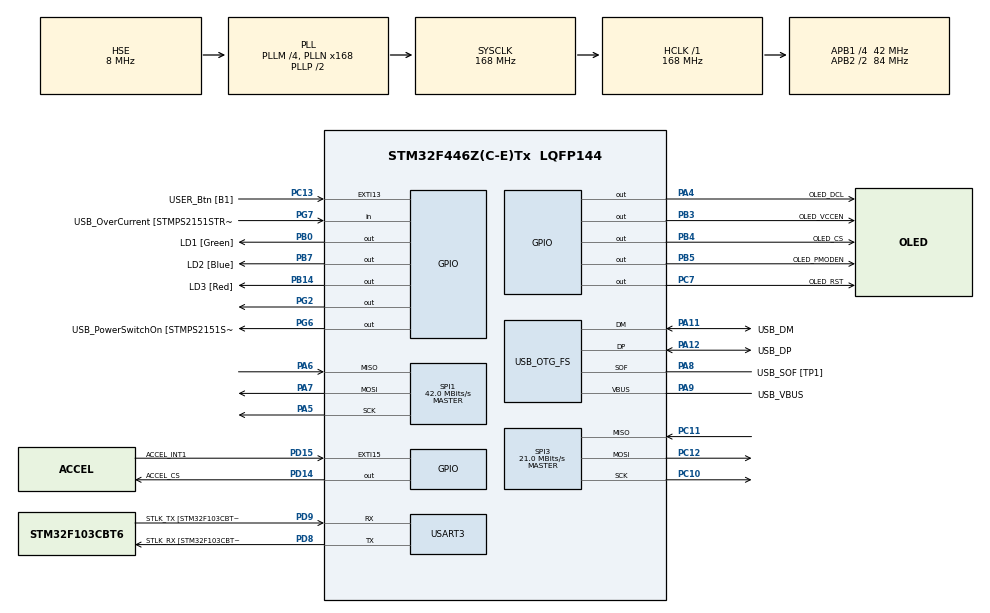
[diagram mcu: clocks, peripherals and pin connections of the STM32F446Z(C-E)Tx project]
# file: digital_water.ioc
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Dma.Request0=USART3_TX
Dma.Request1=SPI1_TX
Dma.Request2=SPI3_TX
Dma.SPI1_TX.1.Direction=DMA_MEMORY_TO_PERIPH
Dma.SPI1_TX.1.FIFOMode=DMA_FIFOMODE_ENABLE
Dma.SPI1_TX.1.FIFOThreshold=DMA_FIFO_THRESHOLD_FULL
Dma.SPI1_TX.1.Instance=DMA2_Stream3
Dma.SPI1_TX.1.MemBurst=DMA_MBURST_SINGLE
Dma.SPI1_TX.1.MemDataAlignment=DMA_MDATAALIGN_BYTE
Dma.SPI1_TX.1.MemInc=DMA_MINC_ENABLE
Dma.SPI1_TX.1.Mode=DMA_NORMAL
Dma.SPI1_TX.1.PeriphBurst=DMA_PBURST_SINGLE
Dma.SPI1_TX.1.PeriphDataAlignment=DMA_PDATAALIGN_BYTE
Dma.SPI1_TX.1.PeriphInc=DMA_PINC_DISABLE
Dma.SPI1_TX.1.Priority=DMA_PRIORITY_LOW
Dma.SPI3_TX.2.Direction=DMA_MEMORY_TO_PERIPH
Dma.SPI3_TX.2.FIFOMode=DMA_FIFOMODE_DISABLE
Dma.SPI3_TX.2.Instance=DMA1_Stream5
Dma.SPI3_TX.2.MemDataAlignment=DMA_MDATAALIGN_BYTE
Dma.SPI3_TX.2.MemInc=DMA_MINC_ENABLE
Dma.SPI3_TX.2.Mode=DMA_NORMAL
Dma.SPI3_TX.2.PeriphDataAlignment=DMA_PDATAALIGN_BYTE
Dma.SPI3_TX.2.PeriphInc=DMA_PINC_DISABLE
Dma.SPI3_TX.2.Priority=DMA_PRIORITY_LOW
Dma.USART3_TX.0.Direction=DMA_MEMORY_TO_PERIPH
Dma.USART3_TX.0.FIFOMode=DMA_FIFOMODE_ENABLE
Dma.USART3_TX.0.FIFOThreshold=DMA_FIFO_THRESHOLD_FULL
Dma.USART3_TX.0.Instance=DMA1_Stream3
Dma.USART3_TX.0.MemBurst=DMA_MBURST_SINGLE
Dma.USART3_TX.0.MemDataAlignment=DMA_MDATAALIGN_BYTE
Dma.USART3_TX.0.MemInc=DMA_MINC_ENABLE
Dma.USART3_TX.0.Mode=DMA_NORMAL
Dma.USART3_TX.0.PeriphBurst=DMA_PBURST_SINGLE
Dma.USART3_TX.0.PeriphDataAlignment=DMA_PDATAALIGN_BYTE
Dma.USART3_TX.0.PeriphInc=DMA_PINC_DISABLE
Dma.USART3_TX.0.Priority=DMA_PRIORITY_LOW
Mcu.Family=STM32F4
Mcu.Name=STM32F446Z(C-E)Tx
Mcu.Package=LQFP144
NVIC.DMA1_Stream3_IRQn=true\:0\:0\:false\:false\:true\:false\:true\:true
NVIC.DMA1_Stream5_IRQn=true\:0\:0\:false\:false\:true\:false\:true\:true
NVIC.DMA2_Stream3_IRQn=true\:0\:0\:false\:false\:true\:false\:true\:true
NVIC.EXTI15_10_IRQn=true\:0\:0\:false\:false\:true\:true\:true\:true
NVIC.PriorityGroup=NVIC_PRIORITYGROUP_4
NVIC.TIM6_DAC_IRQn=true\:0\:0\:false\:false\:true\:true\:true\:true
NVIC.USART3_IRQn=true\:0\:0\:false\:false\:true\:true\:true\:true
PA10.GPIO_Label=USB_ID
PA10.Signal=USB_OTG_FS_ID
PA11.GPIO_Label=USB_DM
PA11.Mode=Device_Only
PA11.Signal=USB_OTG_FS_DM
PA12.GPIO_Label=USB_DP
PA12.Mode=Device_Only
PA12.Signal=USB_OTG_FS_DP
PA13.GPIO_Label=TMS
PA13.Mode=Serial_Wire
PA13.Signal=SYS_JTMS-SWDIO
PA14.GPIO_Label=TCK
PA14.Mode=Serial_Wire
PA14.Signal=SYS_JTCK-SWCLK
PA4.GPIO_Label=OLED_DCL
PA4.GPIO_PuPd=GPIO_PULLDOWN
PA4.GPIO_Speed=GPIO_SPEED_FREQ_VERY_HIGH
PA4.Signal=GPIO_Output
PA5.Mode=Full_Duplex_Master
PA5.Signal=SPI1_SCK
PA6.Mode=Full_Duplex_Master
PA6.Signal=SPI1_MISO
PA7.Mode=Full_Duplex_Master
PA7.Signal=SPI1_MOSI
PA8.GPIO_Label=USB_SOF [TP1]
PA8.Mode=Activate_SOF_FS
PA8.Signal=USB_OTG_FS_SOF
PA9.GPIO_Label=USB_VBUS
PA9.Mode=Activate_VBUS
PA9.Signal=USB_OTG_FS_VBUS
PB0.GPIO_Label=LD1 [Green]
PB0.Signal=GPIO_Output
PB14.GPIO_Label=LD3 [Red]
PB14.Signal=GPIO_Output
PB3.GPIO_Label=OLED_VCCEN
PB3.GPIO_PuPd=GPIO_PULLDOWN
PB3.GPIO_Speed=GPIO_SPEED_FREQ_VERY_HIGH
PB3.Signal=GPIO_Output
PB4.GPIO_Label=OLED_CS
PB4.GPIO_PuPd=GPIO_PULLUP
PB4.GPIO_Speed=GPIO_SPEED_FREQ_VERY_HIGH
PB4.Signal=GPIO_Output
PB5.GPIO_Label=OLED_PMODEN
PB5.GPIO_PuPd=GPIO_PULLDOWN
PB5.GPIO_Speed=GPIO_SPEED_FREQ_MEDIUM
PB5.Signal=GPIO_Output
PB7.GPIO_Label=LD2 [Blue]
PB7.Signal=GPIO_Output
PC10.Mode=Full_Duplex_Master
PC10.Signal=SPI3_SCK
PC11.Mode=Full_Duplex_Master
PC11.Signal=SPI3_MISO
PC12.Mode=Full_Duplex_Master
PC12.Signal=SPI3_MOSI
PC13.GPIO_Label=USER_Btn [B1]
PC13.Signal=GPXTI13
PC14-OSC32_IN.Mode=LSE-External-Oscillator
PC14-OSC32_IN.Signal=RCC_OSC32_IN
PC15-OSC32_OUT.Mode=LSE-External-Oscillator
PC15-OSC32_OUT.Signal=RCC_OSC32_OUT
PC7.GPIO_Label=OLED_RST
PC7.GPIO_PuPd=GPIO_PULLDOWN
PC7.GPIO_Speed=GPIO_SPEED_FREQ_MEDIUM
PC7.PinState=GPIO_PIN_SET
PC7.Signal=GPIO_Output
PD14.GPIO_Label=ACCEL_CS
PD14.GPIO_PuPd=GPIO_PULLUP
PD14.GPIO_Speed=GPIO_SPEED_FREQ_VERY_HIGH
PD14.Signal=GPIO_Output
PD15.GPIO_Label=ACCEL_INT1
PD15.GPIO_PuPd=GPIO_PULLDOWN
PD15.Signal=GPXTI15
PD8.GPIO_Label=STLK_RX [STM32F103CBT6_PA3]
PD8.Mode=Asynchronous
PD8.Signal=USART3_TX
PD9.GPIO_Label=STLK_TX [STM32F103CBT6_PA2]
PD9.Mode=Asynchronous
PD9.Signal=USART3_RX
PG2.Signal=GPIO_Output
PG6.GPIO_Label=USB_PowerSwitchOn [STMPS2151STR_EN]
PG6.Signal=GPIO_Output
PG7.GPIO_Label=USB_OverCurrent [STMPS2151STR_FAULT]
PG7.Signal=GPIO_Input
PH0-OSC_IN.GPIO_Label=MCO [STM32F103CBT6_PA8]
PH0-OSC_IN.Mode=HSE-External-Clock-Source
PH0-OSC_IN.Signal=RCC_OSC_IN
PH1-OSC_OUT.Mode=HSE-External-Clock-Source
PH1-OSC_OUT.Signal=RCC_OSC_OUT
ProjectManager.HeapSize=0x200
ProjectManager.StackSize=0x400
ProjectManager.TargetToolchain=MDK-ARM V5.32
RCC.48MHZClocksFreq_Value=24000000
RCC.AHBFreq_Value=168000000
RCC.APB1CLKDivider=RCC_HCLK_DIV4
RCC.APB1Freq_Value=42000000
RCC.APB1TimFreq_Value=84000000
RCC.APB2CLKDivider=RCC_HCLK_DIV2
RCC.APB2Freq_Value=84000000
RCC.APB2TimFreq_Value=168000000
RCC.CortexFreq_Value=168000000
RCC.HCLKFreq_Value=168000000
RCC.HSE_VALUE=8000000
RCC.HSI_VALUE=16000000
RCC.PLLM=4
RCC.PLLMUL=RCC_PLL_MUL9
RCC.PLLN=168
RCC.PLLQ=7
RCC.PRESCALERUSB=RCC_USBCLKSOURCE_PLL_DIV1_5
RCC.SYSCLKFreq_VALUE=168000000
RCC.SYSCLKSource=RCC_SYSCLKSOURCE_PLLCLK
RCC.SYSCLKSourceVirtual=RCC_SYSCLKSOURCE_PLLCLK
RCC.USBFreq_Value=48000000
RCC.VCOOutputFreq_Value=336000000
SPI1.CalculateBaudRate=42.0 MBits/s
SPI1.Direction=SPI_DIRECTION_2LINES
SPI1.Mode=SPI_MODE_MASTER
SPI1.VirtualType=VM_MASTER
SPI3.CalculateBaudRate=21.0 MBits/s
SPI3.Direction=SPI_DIRECTION_2LINES
SPI3.Mode=SPI_MODE_MASTER
SPI3.VirtualType=VM_MASTER
USART3.VirtualMode=VM_ASYNC
USB_OTG_FS.VirtualMode=Device_Only
VP_TIM6_VS_ClockSourceINT.Mode=Enable_Timer
board=NUCLEO-F446ZE

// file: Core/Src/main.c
/* USER CODE BEGIN Header */
/**
 ******************************************************************************
 * @file           : main.c
 * @brief          : Main program body
 ******************************************************************************
 * @attention
 *
 * Copyright (c) 2025 STMicroelectronics.
 * All rights reserved.
 *
 * This software is licensed under terms that can be found in the LICENSE file
 * in the root directory of this software component.
 * If no LICENSE file comes with this software, it is provided AS-IS.
 *
 ******************************************************************************
 */
/* USER CODE END Header */
#include "main.h"

/* USER CODE BEGIN Includes */
#include "oled.h"
#include "accelerometer.h"
#include "fluid_sim.h"
#include "physics.h"
/* USER CODE END Includes */

SPI_HandleTypeDef hspi1;
SPI_HandleTypeDef hspi3;
DMA_HandleTypeDef hdma_spi1_tx;
DMA_HandleTypeDef hdma_spi3_tx;

TIM_HandleTypeDef htim6;

UART_HandleTypeDef huart3;
DMA_HandleTypeDef hdma_usart3_tx;

PCD_HandleTypeDef hpcd_USB_OTG_FS;

void SystemClock_Config(void);
static void MX_GPIO_Init(void);
static void MX_DMA_Init(void);
static void MX_SPI1_Init(void);
static void MX_TIM6_Init(void);
static void MX_USART3_UART_Init(void);
static void MX_USB_OTG_FS_PCD_Init(void);
static void MX_SPI3_Init(void);

/* USER CODE BEGIN 0 */
int16_t accel_data[3];
// 0 --> XDATA
// 1 --> YDATA
// 2 --> ZDATA
double roll = 0.00, pitch = 0.00;
int16_t x = 0, y = 0, z = 0;
float x_g = 0.0, y_g = 0.0, z_g = 0.0;

uint8_t btn_press = 0;
uint16_t colors[3] = {RED, GREEN, BLUE};

Sim_Cell_t grid_array[SIM_PHYS_X_SIZE][SIM_PHYS_Y_SIZE];
Sim_Particle_t particle_array[SIM_PARTICLE_COUNT];
uint16_t image_buff[SIM_RENDER_X_SIZE * SIM_RENDER_Y_SIZE];
Sim_Particle_t obstacle_array[SIM_OBSTACLE_COUNT];
Vec2_t GravityVector;

uint8_t tx_buff[sizeof(PREAMBLE) + SIM_RENDER_X_SIZE * SIM_RENDER_Y_SIZE +
									sizeof(SUFFIX)];
size_t tx_buff_len;

int sim_time = 0;
char main_msg[140];
/* USER CODE END 0 */

int overflow = 0;
int main(void)
{

  /* MCU Configuration--------------------------------------------------------*/

  /* Reset of all peripherals, Initializes the Flash interface and the Systick. */
  HAL_Init();

  /* Configure the system clock */
  SystemClock_Config();

  /* Initialize all configured peripherals */
  MX_GPIO_Init();
  MX_DMA_Init();
  MX_SPI1_Init();
  MX_TIM6_Init();
  MX_USART3_UART_Init();
  MX_USB_OTG_FS_PCD_Init();
  MX_SPI3_Init();
  /* USER CODE BEGIN 2 */
  print_msg("finished MX Inits\n");
  Sim_Physics_Init();

  // Write CS pins high by default
  // These pins are configured as pullup, but doing this just in case
  HAL_GPIO_WritePin(ACCEL_CS_GPIO_Port, ACCEL_CS_Pin, GPIO_PIN_SET);
  HAL_GPIO_WritePin(OLED_CS_GPIO_Port, OLED_CS_Pin, GPIO_PIN_SET);
  HAL_Delay(10);

  accel_init();
  HAL_Delay(10);
  oled_init();
  HAL_Delay(10);
  oled_eraseRect(0, 0, RGB_OLED_WIDTH - 1, RGB_OLED_HEIGHT - 1); // Clearing screen
  Sim_Physics_Init();
  const int delayTime = (40 * SIM_PHYSICS_FPS) / 2;
	GravityVector = (Vec2_t){.x = 0, .y = SIM_GRAV};

  print_msg("starting while loop\n");

	// FPS calculation
	HAL_TIM_Base_MspInit(&htim6);

  /* USER CODE END 2 */

  /* Infinite loop */
  while (1)
  {

    /* USER CODE BEGIN 3 */
		if(overflow > 0){
			print_msg("DAB");
		}
		accel_poll(accel_data);

		x = (int16_t)accel_data[0], y = (int16_t)accel_data[1], z = (int16_t)accel_data[2];

		// Convert into g's

		x_g = (float)x*(float)1.0/1024.0;
		y_g = (float)y*(float)1.0/1024.0;
		z_g = (float)z*(float)1.0/1024.0;
		// Compute pitch & roll.
		roll = atan(y_g / sqrt(pow(x_g, 2) + pow(z_g, 2)));
		pitch = atan(x_g / sqrt(pow(y_g, 2) + pow(z_g, 2)));
		// Compute gravity vector.
		GravityVector.x = (-1.0)*sin(roll);
		GravityVector.y = sin(pitch);

		GravityVector = Normalize_V2(GravityVector);
		GravityVector.x *= SIM_GRAV;
		GravityVector.y *= SIM_GRAV;

		//HAL_TIM_Base_Start_IT(&htim6);

		Sim_Physics_Step();
		renderImage();
		/*
		HAL_TIM_Base_Stop(&htim6);
	uint16_t time = __HAL_TIM_GET_COUNTER(&htim6);
	sprintf(main_msg, "Overflow value: %d\nTime: %d\n", overflow, time);
	print_msg(main_msg);

	while(1)
		;
		*/
		oled_drawframe(image_buff);

    if (btn_press)
    {
			//GravityVector = ScalarMult_V2(GravityVector, -1);
			sprintf(main_msg, "X: %d\nY: %d\nZ: %d\nRoll: %f\nPitch: %f\nGravity X: %f\nGravity Y: %f\n", x, y, z, roll*57.3, pitch*57.3, GravityVector.x,GravityVector.y);
			print_msg(main_msg);
      btn_press = 0;
    }
  }
  /* USER CODE END 3 */
}

void SystemClock_Config(void)
{
  RCC_OscInitTypeDef RCC_OscInitStruct = {0};
  RCC_ClkInitTypeDef RCC_ClkInitStruct = {0};

  /** Configure the main internal regulator output voltage
  */
  __HAL_RCC_PWR_CLK_ENABLE();
  __HAL_PWR_VOLTAGESCALING_CONFIG(PWR_REGULATOR_VOLTAGE_SCALE1);

  /** Initializes the RCC Oscillators according to the specified parameters
  * in the RCC_OscInitTypeDef structure.
  */
  RCC_OscInitStruct.OscillatorType = RCC_OSCILLATORTYPE_HSE;
  RCC_OscInitStruct.HSEState = RCC_HSE_BYPASS;
  RCC_OscInitStruct.PLL.PLLState = RCC_PLL_ON;
  RCC_OscInitStruct.PLL.PLLSource = RCC_PLLSOURCE_HSE;
  RCC_OscInitStruct.PLL.PLLM = 4;
  RCC_OscInitStruct.PLL.PLLN = 168;
  RCC_OscInitStruct.PLL.PLLP = RCC_PLLP_DIV2;
  RCC_OscInitStruct.PLL.PLLQ = 7;
  RCC_OscInitStruct.PLL.PLLR = 2;
  if (HAL_RCC_OscConfig(&RCC_OscInitStruct) != HAL_OK)
  {
    Error_Handler();
  }

  /** Initializes the CPU, AHB and APB buses clocks
  */
  RCC_ClkInitStruct.ClockType = RCC_CLOCKTYPE_HCLK|RCC_CLOCKTYPE_SYSCLK
                              |RCC_CLOCKTYPE_PCLK1|RCC_CLOCKTYPE_PCLK2;
  RCC_ClkInitStruct.SYSCLKSource = RCC_SYSCLKSOURCE_PLLCLK;
  RCC_ClkInitStruct.AHBCLKDivider = RCC_SYSCLK_DIV1;
  RCC_ClkInitStruct.APB1CLKDivider = RCC_HCLK_DIV4;
  RCC_ClkInitStruct.APB2CLKDivider = RCC_HCLK_DIV2;

  if (HAL_RCC_ClockConfig(&RCC_ClkInitStruct, FLASH_LATENCY_5) != HAL_OK)
  {
    Error_Handler();
  }
}

static void MX_SPI1_Init(void)
{

  /* SPI1 parameter configuration*/
  hspi1.Instance = SPI1;
  hspi1.Init.Mode = SPI_MODE_MASTER;
  hspi1.Init.Direction = SPI_DIRECTION_2LINES;
  hspi1.Init.DataSize = SPI_DATASIZE_8BIT;
  hspi1.Init.CLKPolarity = SPI_POLARITY_LOW;
  hspi1.Init.CLKPhase = SPI_PHASE_1EDGE;
  hspi1.Init.NSS = SPI_NSS_SOFT;
  hspi1.Init.BaudRatePrescaler = SPI_BAUDRATEPRESCALER_2;
  hspi1.Init.FirstBit = SPI_FIRSTBIT_MSB;
  hspi1.Init.TIMode = SPI_TIMODE_DISABLE;
  hspi1.Init.CRCCalculation = SPI_CRCCALCULATION_DISABLE;
  hspi1.Init.CRCPolynomial = 10;
  if (HAL_SPI_Init(&hspi1) != HAL_OK)
  {
    Error_Handler();
  }

}

static void MX_SPI3_Init(void)
{

  /* SPI3 parameter configuration*/
  hspi3.Instance = SPI3;
  hspi3.Init.Mode = SPI_MODE_MASTER;
  hspi3.Init.Direction = SPI_DIRECTION_2LINES;
  hspi3.Init.DataSize = SPI_DATASIZE_8BIT;
  hspi3.Init.CLKPolarity = SPI_POLARITY_LOW;
  hspi3.Init.CLKPhase = SPI_PHASE_1EDGE;
  hspi3.Init.NSS = SPI_NSS_SOFT;
  hspi3.Init.BaudRatePrescaler = SPI_BAUDRATEPRESCALER_2;
  hspi3.Init.FirstBit = SPI_FIRSTBIT_MSB;
  hspi3.Init.TIMode = SPI_TIMODE_DISABLE;
  hspi3.Init.CRCCalculation = SPI_CRCCALCULATION_DISABLE;
  hspi3.Init.CRCPolynomial = 10;
  if (HAL_SPI_Init(&hspi3) != HAL_OK)
  {
    Error_Handler();
  }

}

static void MX_TIM6_Init(void)
{

  TIM_MasterConfigTypeDef sMasterConfig = {0};

  htim6.Instance = TIM6;
  htim6.Init.Prescaler = 0;
  htim6.Init.CounterMode = TIM_COUNTERMODE_UP;
  htim6.Init.Period = 65535;
  htim6.Init.AutoReloadPreload = TIM_AUTORELOAD_PRELOAD_DISABLE;
  if (HAL_TIM_Base_Init(&htim6) != HAL_OK)
  {
    Error_Handler();
  }
  sMasterConfig.MasterOutputTrigger = TIM_TRGO_RESET;
  sMasterConfig.MasterSlaveMode = TIM_MASTERSLAVEMODE_DISABLE;
  if (HAL_TIMEx_MasterConfigSynchronization(&htim6, &sMasterConfig) != HAL_OK)
  {
    Error_Handler();
  }

}

static void MX_USART3_UART_Init(void)
{

  huart3.Instance = USART3;
  huart3.Init.BaudRate = 115200;
  huart3.Init.WordLength = UART_WORDLENGTH_8B;
  huart3.Init.StopBits = UART_STOPBITS_1;
  huart3.Init.Parity = UART_PARITY_NONE;
  huart3.Init.Mode = UART_MODE_TX_RX;
  huart3.Init.HwFlowCtl = UART_HWCONTROL_NONE;
  huart3.Init.OverSampling = UART_OVERSAMPLING_16;
  if (HAL_UART_Init(&huart3) != HAL_OK)
  {
    Error_Handler();
  }

}

static void MX_USB_OTG_FS_PCD_Init(void)
{

  hpcd_USB_OTG_FS.Instance = USB_OTG_FS;
  hpcd_USB_OTG_FS.Init.dev_endpoints = 6;
  hpcd_USB_OTG_FS.Init.speed = PCD_SPEED_FULL;
  hpcd_USB_OTG_FS.Init.dma_enable = DISABLE;
  hpcd_USB_OTG_FS.Init.phy_itface = PCD_PHY_EMBEDDED;
  hpcd_USB_OTG_FS.Init.Sof_enable = ENABLE;
  hpcd_USB_OTG_FS.Init.low_power_enable = DISABLE;
  hpcd_USB_OTG_FS.Init.lpm_enable = DISABLE;
  hpcd_USB_OTG_FS.Init.vbus_sensing_enable = ENABLE;
  hpcd_USB_OTG_FS.Init.use_dedicated_ep1 = DISABLE;
  if (HAL_PCD_Init(&hpcd_USB_OTG_FS) != HAL_OK)
  {
    Error_Handler();
  }

}

static void MX_DMA_Init(void)
{

  /* DMA controller clock enable */
  __HAL_RCC_DMA1_CLK_ENABLE();
  __HAL_RCC_DMA2_CLK_ENABLE();

  /* DMA interrupt init */
  /* DMA1_Stream3_IRQn interrupt configuration */
  HAL_NVIC_SetPriority(DMA1_Stream3_IRQn, 0, 0);
  HAL_NVIC_EnableIRQ(DMA1_Stream3_IRQn);
  /* DMA1_Stream5_IRQn interrupt configuration */
  HAL_NVIC_SetPriority(DMA1_Stream5_IRQn, 0, 0);
  HAL_NVIC_EnableIRQ(DMA1_Stream5_IRQn);
  /* DMA2_Stream3_IRQn interrupt configuration */
  HAL_NVIC_SetPriority(DMA2_Stream3_IRQn, 0, 0);
  HAL_NVIC_EnableIRQ(DMA2_Stream3_IRQn);

}

static void MX_GPIO_Init(void)
{
  GPIO_InitTypeDef GPIO_InitStruct = {0};

  /* GPIO Ports Clock Enable */
  __HAL_RCC_GPIOC_CLK_ENABLE();
  __HAL_RCC_GPIOH_CLK_ENABLE();
  __HAL_RCC_GPIOA_CLK_ENABLE();
  __HAL_RCC_GPIOB_CLK_ENABLE();
  __HAL_RCC_GPIOD_CLK_ENABLE();
  __HAL_RCC_GPIOG_CLK_ENABLE();

  /*Configure GPIO pin Output Level */
  HAL_GPIO_WritePin(OLED_DCL_GPIO_Port, OLED_DCL_Pin, GPIO_PIN_RESET);

  /*Configure GPIO pin Output Level */
  HAL_GPIO_WritePin(GPIOB, LD1_Pin|LD3_Pin|OLED_VCCEN_Pin|OLED_CS_Pin
                          |OLED_PMODEN_Pin|LD2_Pin, GPIO_PIN_RESET);

  /*Configure GPIO pin Output Level */
  HAL_GPIO_WritePin(ACCEL_CS_GPIO_Port, ACCEL_CS_Pin, GPIO_PIN_RESET);

  /*Configure GPIO pin Output Level */
  HAL_GPIO_WritePin(GPIOG, GPIO_PIN_2|USB_PowerSwitchOn_Pin, GPIO_PIN_RESET);

  /*Configure GPIO pin Output Level */
  HAL_GPIO_WritePin(OLED_RST_GPIO_Port, OLED_RST_Pin, GPIO_PIN_SET);

  /*Configure GPIO pin : USER_Btn_Pin */
  GPIO_InitStruct.Pin = USER_Btn_Pin;
  GPIO_InitStruct.Mode = GPIO_MODE_IT_RISING;
  GPIO_InitStruct.Pull = GPIO_NOPULL;
  HAL_GPIO_Init(USER_Btn_GPIO_Port, &GPIO_InitStruct);

  /*Configure GPIO pin : OLED_DCL_Pin */
  GPIO_InitStruct.Pin = OLED_DCL_Pin;
  GPIO_InitStruct.Mode = GPIO_MODE_OUTPUT_PP;
  GPIO_InitStruct.Pull = GPIO_PULLDOWN;
  GPIO_InitStruct.Speed = GPIO_SPEED_FREQ_VERY_HIGH;
  HAL_GPIO_Init(OLED_DCL_GPIO_Port, &GPIO_InitStruct);

  /*Configure GPIO pins : LD1_Pin LD3_Pin LD2_Pin */
  GPIO_InitStruct.Pin = LD1_Pin|LD3_Pin|LD2_Pin;
  GPIO_InitStruct.Mode = GPIO_MODE_OUTPUT_PP;
  GPIO_InitStruct.Pull = GPIO_NOPULL;
  GPIO_InitStruct.Speed = GPIO_SPEED_FREQ_LOW;
  HAL_GPIO_Init(GPIOB, &GPIO_InitStruct);

  /*Configure GPIO pin : ACCEL_CS_Pin */
  GPIO_InitStruct.Pin = ACCEL_CS_Pin;
  GPIO_InitStruct.Mode = GPIO_MODE_OUTPUT_PP;
  GPIO_InitStruct.Pull = GPIO_PULLUP;
  GPIO_InitStruct.Speed = GPIO_SPEED_FREQ_VERY_HIGH;
  HAL_GPIO_Init(ACCEL_CS_GPIO_Port, &GPIO_InitStruct);

  /*Configure GPIO pin : ACCEL_INT1_Pin */
  GPIO_InitStruct.Pin = ACCEL_INT1_Pin;
  GPIO_InitStruct.Mode = GPIO_MODE_IT_RISING;
  GPIO_InitStruct.Pull = GPIO_PULLDOWN;
  HAL_GPIO_Init(ACCEL_INT1_GPIO_Port, &GPIO_InitStruct);

  /*Configure GPIO pins : PG2 USB_PowerSwitchOn_Pin */
  GPIO_InitStruct.Pin = GPIO_PIN_2|USB_PowerSwitchOn_Pin;
  GPIO_InitStruct.Mode = GPIO_MODE_OUTPUT_PP;
  GPIO_InitStruct.Pull = GPIO_NOPULL;
  GPIO_InitStruct.Speed = GPIO_SPEED_FREQ_LOW;
  HAL_GPIO_Init(GPIOG, &GPIO_InitStruct);

  /*Configure GPIO pin : USB_OverCurrent_Pin */
  GPIO_InitStruct.Pin = USB_OverCurrent_Pin;
  GPIO_InitStruct.Mode = GPIO_MODE_INPUT;
  GPIO_InitStruct.Pull = GPIO_NOPULL;
  HAL_GPIO_Init(USB_OverCurrent_GPIO_Port, &GPIO_InitStruct);

  /*Configure GPIO pin : OLED_RST_Pin */
  GPIO_InitStruct.Pin = OLED_RST_Pin;
  GPIO_InitStruct.Mode = GPIO_MODE_OUTPUT_PP;
  GPIO_InitStruct.Pull = GPIO_PULLDOWN;
  GPIO_InitStruct.Speed = GPIO_SPEED_FREQ_MEDIUM;
  HAL_GPIO_Init(OLED_RST_GPIO_Port, &GPIO_InitStruct);

  /*Configure GPIO pin : OLED_VCCEN_Pin */
  GPIO_InitStruct.Pin = OLED_VCCEN_Pin;
  GPIO_InitStruct.Mode = GPIO_MODE_OUTPUT_PP;
  GPIO_InitStruct.Pull = GPIO_PULLDOWN;
  GPIO_InitStruct.Speed = GPIO_SPEED_FREQ_VERY_HIGH;
  HAL_GPIO_Init(OLED_VCCEN_GPIO_Port, &GPIO_InitStruct);

  /*Configure GPIO pin : OLED_CS_Pin */
  GPIO_InitStruct.Pin = OLED_CS_Pin;
  GPIO_InitStruct.Mode = GPIO_MODE_OUTPUT_PP;
  GPIO_InitStruct.Pull = GPIO_PULLUP;
  GPIO_InitStruct.Speed = GPIO_SPEED_FREQ_VERY_HIGH;
  HAL_GPIO_Init(OLED_CS_GPIO_Port, &GPIO_InitStruct);

  /*Configure GPIO pin : OLED_PMODEN_Pin */
  GPIO_InitStruct.Pin = OLED_PMODEN_Pin;
  GPIO_InitStruct.Mode = GPIO_MODE_OUTPUT_PP;
  GPIO_InitStruct.Pull = GPIO_PULLDOWN;
  GPIO_InitStruct.Speed = GPIO_SPEED_FREQ_MEDIUM;
  HAL_GPIO_Init(OLED_PMODEN_GPIO_Port, &GPIO_InitStruct);

  /* EXTI interrupt init*/
  HAL_NVIC_SetPriority(EXTI15_10_IRQn, 0, 0);
  HAL_NVIC_EnableIRQ(EXTI15_10_IRQn);

}

/* USER CODE BEGIN 4 */

void my_print_amsg(char *amsg)
{
  HAL_UART_Transmit(&huart3, (uint8_t *)amsg, strlen(amsg), 100);
}
void print_msg(char *msg) {
   HAL_UART_Transmit(&huart3, (uint8_t *)msg, strlen(msg), 100);

}

/* USER CODE END 4 */

void Error_Handler(void)
{
  __disable_irq();
  while (1)
  {
  }
}

#ifdef  USE_FULL_ASSERT
/**
  * @brief  Reports the name of the source file and the source line number
  *         where the assert_param error has occurred.
  * @param  file: pointer to the source file name
  * @param  line: assert_param error line source number
  * @retval None
  */
void assert_failed(uint8_t *file, uint32_t line)
{
  /* USER CODE BEGIN 6 */
  /* User can add his own implementation to report the file name and line
     number, ex: printf("Wrong parameters value: file %s on line %d\r\n", file,
     line) */
  /* USER CODE END 6 */
}
#endif /* USE_FULL_ASSERT */
